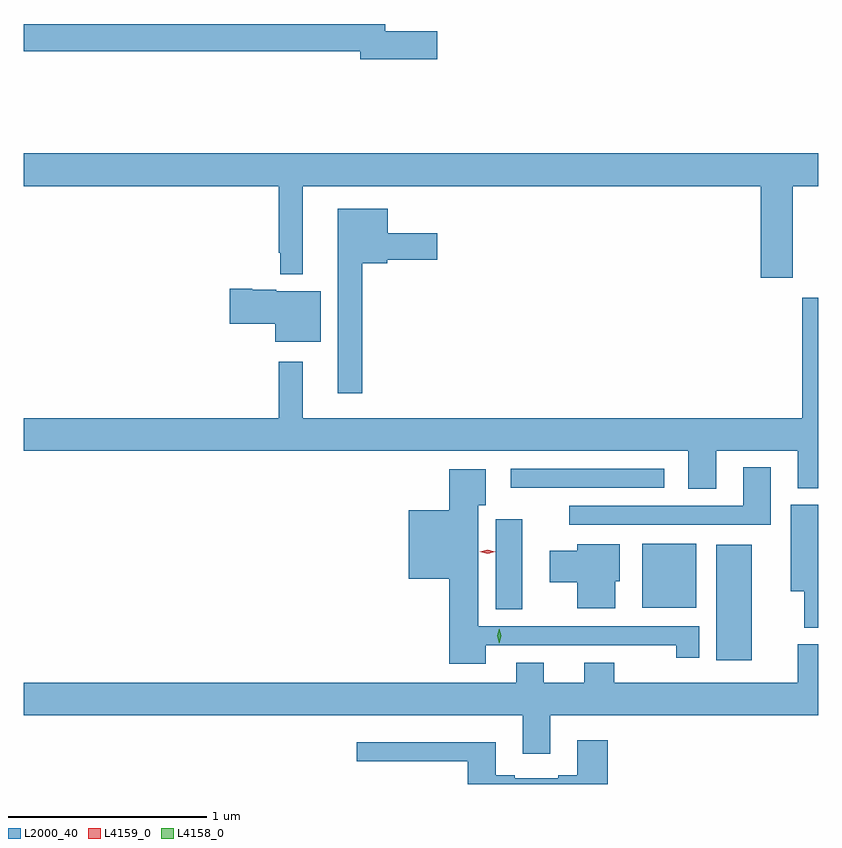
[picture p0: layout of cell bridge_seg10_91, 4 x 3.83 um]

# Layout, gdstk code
import gdstk
lib = gdstk.Library(unit=1e-6, precision=1e-09)
def R(c, l, rs):  # rectangles x0, y0, x1, y1
    for r in rs: c.add(gdstk.rectangle(r[:2], r[2:], *l))
def P(c, l, *ps):  # polygons
    for p in ps: c.add(gdstk.Polygon(p, *l))
L2000_40 = (2000, 40)
L4158_0 = (4158, 0)
L4159_0 = (4159, 0)

bridge_seg10_91 = lib.new_cell('bridge_seg10_91')
R(bridge_seg10_91, L2000_40, [(583.388,1311.248,583.567,1311.829), (582.278,1311.505,582.412,1311.958), (583.016,1311.512,583.288,1311.835), (582.354,1312.116,583.126,1312.212)])
P(bridge_seg10_91, L2000_40, [(581.983,1314.416),(581.722,1314.416),(581.722,1314.452),(579.901,1314.452),(579.901,1314.316),(581.594,1314.316),(581.594,1314.274),(581.983,1314.274)],
  [(583.773,1313.636),(583.901,1313.636),(583.901,1313.8),(579.901,1313.8),(579.901,1313.636),(581.184,1313.636),(581.184,1313.299),(581.191,1313.299),(581.191,1313.192),(581.305,1313.192),(581.305,1313.636),(583.613,1313.636),(583.613,1313.175),(583.773,1313.175)],
  [(581.605,1313.246),(581.73,1313.246),(581.73,1313.264),(581.983,1313.264),(581.983,1313.398),(581.734,1313.398),(581.734,1313.521),(581.483,1313.521),(581.483,1312.593),(581.605,1312.593)],
  [(581.395,1313.107),(581.172,1313.107),(581.172,1313.113),(581.05,1313.113),(581.05,1313.12),(580.938,1313.12),(580.938,1312.942),(581.168,1312.942),(581.168,1312.853),(581.395,1312.853)],
  [(583.387,1312.304),(583.799,1312.304),(583.799,1312.115),(583.901,1312.115),(583.901,1313.074),(583.82,1313.074),(583.82,1312.468),(581.305,1312.468),(581.305,1312.75),(581.184,1312.75),(581.184,1312.468),(579.901,1312.468),(579.901,1312.304),(583.247,1312.304),(583.247,1312.111),(583.387,1312.111)],
  [(583.663,1312.219),(583.523,1312.219),(583.523,1312.026),(582.648,1312.026),(582.648,1311.93),(583.663,1311.93)],
  [(582.226,1311.324),(582.958,1311.324),(582.958,1311.323),(583.186,1311.323),(583.186,1311.261),(583.303,1311.261),(583.303,1311.42),(582.19,1311.42),(582.19,1312.028),(582.226,1312.028),(582.226,1312.21),(582.044,1312.21),(582.044,1312.003),(581.84,1312.003),(581.84,1311.659),(582.044,1311.659),(582.044,1311.23),(582.226,1311.23)],
  [(583.901,1312.03),(583.763,1312.03),(583.763,1311.596),(583.832,1311.596),(583.832,1311.413),(583.901,1311.413)],
  [(582.88,1311.645),(582.901,1311.645),(582.901,1311.832),(582.689,1311.832),(582.689,1311.799),(582.549,1311.799),(582.549,1311.641),(582.689,1311.641),(582.689,1311.509),(582.88,1311.509)],
  [(582.553,1310.972),(583.901,1310.972),(583.901,1311.328),(583.799,1311.328),(583.799,1311.136),(582.875,1311.136),(582.875,1311.235),(582.722,1311.235),(582.722,1311.136),(582.52,1311.136),(582.52,1311.235),(582.38,1311.235),(582.38,1311.136),(579.901,1311.136),(579.901,1310.972),(582.413,1310.972),(582.413,1310.778),(582.553,1310.778)],
  [(582.842,1310.845),(582.689,1310.845),(582.689,1310.668),(582.593,1310.668),(582.593,1310.655),(582.373,1310.655),(582.373,1310.668),(582.277,1310.668),(582.277,1310.836),(581.577,1310.836),(581.577,1310.739),(582.137,1310.739),(582.137,1310.625),(582.842,1310.625)])
P(bridge_seg10_91, L4158_0, [(582.295,1311.335),(582.295,1311.335),(582.285,1311.371),(582.295,1311.407),(582.295,1311.407),(582.295,1311.407),(582.305,1311.371),(582.295,1311.335)])
P(bridge_seg10_91, L4159_0, [(582.236,1311.785),(582.197,1311.795),(582.197,1311.795),(582.197,1311.795),(582.236,1311.805),(582.276,1311.795),(582.276,1311.795),(582.276,1311.794)])

lib.write_gds('bridge_seg10_91.gds')
